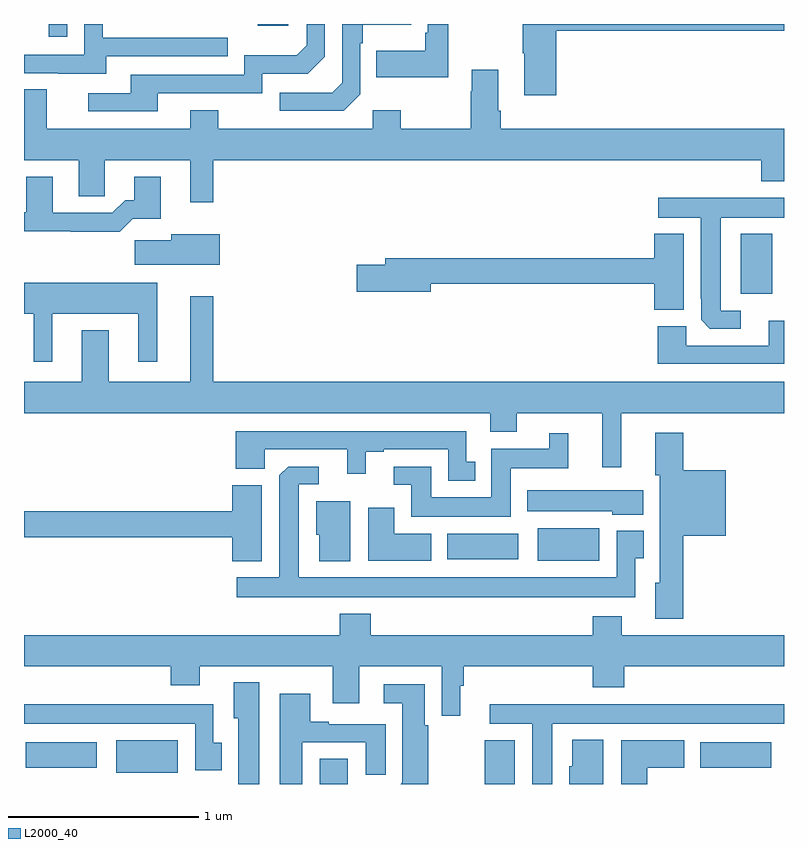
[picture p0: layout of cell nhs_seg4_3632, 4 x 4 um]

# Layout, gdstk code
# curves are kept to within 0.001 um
import gdstk
lib = gdstk.Library(unit=1e-6, precision=1e-09)
def R(c, l, rs):  # rectangles x0, y0, x1, y1
    for r in rs: c.add(gdstk.rectangle(r[:2], r[2:], *l))
def P(c, l, *ps):  # polygons
    for p in ps: c.add(gdstk.Polygon(p, *l))
L2000_40 = (2000, 40)

nhs_seg4_3632 = lib.new_cell('nhs_seg4_3632')
R(nhs_seg4_3632, L2000_40, [(304.556,762.9,304.705,763.034), (305.426,762.9,305.584,763.129), (303.485,762.959,303.808,763.129), (303.008,762.986,303.382,763.12), (306.56,762.986,306.934,763.12), (305.705,764.075,306.028,764.245), (305.228,764.084,305.602,764.218), (306.773,765.48,306.937,765.796), (303.131,766.833,303.228,766.9), (304.229,766.892,304.39,766.9)])
P(nhs_seg4_3632, L2000_40, [(305.233,766.9),(305.124,766.9),(305.124,766.855),(305.112,766.855),(305.112,766.759),(304.855,766.759),(304.855,766.619),(305.233,766.619)],
  [(303.703,766.536),(304.254,766.536),(304.254,766.638),(304.494,766.638),(304.584,766.728),(304.584,766.9),(304.488,766.9),(304.488,766.788),(304.435,766.735),(304.158,766.735),(304.158,766.632),(303.563,766.632),(303.563,766.536),(303.339,766.536),(303.339,766.44),(303.703,766.44)],
  [(304.77,766.53),(304.77,766.799),(304.783,766.799),(304.783,766.895),(305.039,766.895),(305.039,766.9),(304.674,766.9),(304.674,766.59),(304.623,766.539),(304.347,766.539),(304.347,766.443),(304.683,766.443)],
  [(303.433,766.731),(304.073,766.731),(304.073,766.827),(303.414,766.827),(303.414,766.9),(303.318,766.9),(303.318,766.737),(303,766.737),(303,766.641),(303.179,766.641),(303.179,766.637),(303.433,766.637)],
  [(305.801,766.864),(307,766.864),(307,766.9),(305.626,766.9),(305.626,766.747),(305.633,766.747),(305.633,766.524),(305.801,766.524)],
  [(306.881,766.073),(307,766.073),(307,766.348),(305.51,766.348),(305.51,766.444),(305.497,766.444),(305.497,766.66),(305.357,766.66),(305.357,766.547),(305.35,766.547),(305.35,766.348),(304.983,766.348),(304.983,766.447),(304.836,766.447),(304.836,766.348),(304.023,766.348),(304.023,766.447),(303.875,766.447),(303.875,766.348),(303.121,766.348),(303.121,766.556),(303,766.556),(303,766.184),(303.287,766.184),(303.287,765.994),(303.426,765.994),(303.426,766.184),(303.875,766.184),(303.875,765.963),(303.997,765.963),(303.997,766.184),(306.881,766.184)],
  [(303.572,765.875),(303.721,765.875),(303.721,766.096),(303.581,766.096),(303.581,765.973),(303.532,765.973),(303.465,765.906),(303.151,765.906),(303.151,766.096),(303.011,766.096),(303.011,765.909),(303,765.909),(303,765.808),(303.247,765.808),(303.247,765.806),(303.503,765.806)],
  [(306.772,765.39),(306.667,765.39),(306.667,765.881),(307,765.881),(307,765.985),(306.339,765.985),(306.339,765.881),(306.563,765.881),(306.564,765.343),(306.61,765.297),(306.772,765.297)],
  [(306.472,765.796),(306.317,765.796),(306.317,765.668),(304.901,765.668),(304.901,765.632),(304.752,765.632),(304.752,765.49),(305.14,765.49),(305.14,765.532),(306.317,765.532),(306.317,765.395),(306.472,765.395)],
  [(304.03,765.793),(303.776,765.793),(303.776,765.761),(303.582,765.761),(303.582,765.632),(304.03,765.632)],
  [(303.148,765.374),(303.602,765.374),(303.602,765.123),(303.7,765.123),(303.7,765.538),(303,765.538),(303,765.374),(303.05,765.374),(303.05,765.123),(303.148,765.123)],
  [(306.143,764.852),(307,764.852),(307,765.016),(303.997,765.016),(303.997,765.466),(303.875,765.466),(303.875,765.016),(303.445,765.016),(303.445,765.289),(303.305,765.289),(303.305,765.016),(303,765.016),(303,764.852),(305.453,764.852),(305.453,764.753),(305.593,764.753),(305.593,764.852),(306.044,764.852),(306.044,764.568),(306.143,764.568)],
  [(307,765.337),(306.92,765.337),(306.92,765.207),(306.486,765.207),(306.486,765.31),(306.335,765.31),(306.335,765.111),(307,765.111)],
  [(305.374,764.595),(305.328,764.595),(305.328,764.757),(304.115,764.757),(304.115,764.558),(304.266,764.558),(304.266,764.661),(304.7,764.661),(304.7,764.532),(304.798,764.532),(304.798,764.649),(304.894,764.649),(304.894,764.661),(305.232,764.661),(305.232,764.495),(305.374,764.495)],
  [(306.47,764.207),(306.694,764.207),(306.694,764.551),(306.47,764.551),(306.47,764.749),(306.323,764.749),(306.323,764.526),(306.347,764.526),(306.347,763.959),(306.323,763.959),(306.323,763.769),(306.47,763.769)],
  [(305.563,764.561),(305.864,764.561),(305.864,764.746),(305.765,764.746),(305.765,764.665),(305.459,764.665),(305.459,764.41),(305.143,764.41),(305.143,764.571),(304.947,764.571),(304.947,764.475),(305.039,764.475),(305.039,764.306),(305.563,764.306)],
  [(306.217,764.089),(306.262,764.089),(306.262,764.233),(306.12,764.233),(306.12,763.987),(304.447,763.987),(304.447,764.478),(304.552,764.478),(304.552,764.571),(304.39,764.571),(304.344,764.525),(304.343,763.987),(304.119,763.987),(304.119,763.883),(306.217,763.883)],
  [(304.252,764.473),(304.097,764.473),(304.097,764.336),(303,764.336),(303,764.2),(304.097,764.2),(304.097,764.072),(304.252,764.072)],
  [(306.259,764.446),(305.648,764.446),(305.648,764.336),(306.096,764.336),(306.096,764.318),(306.259,764.318)],
  [(304.717,764.389),(304.538,764.389),(304.538,764.211),(304.553,764.211),(304.553,764.072),(304.717,764.072)],
  [(305.143,764.218),(304.948,764.218),(304.948,764.353),(304.811,764.353),(304.811,764.075),(305.143,764.075)],
  [(305.296,763.417),(305.315,763.417),(305.315,763.52),(305.993,763.52),(305.993,763.409),(306.158,763.409),(306.158,763.52),(307,763.52),(307,763.684),(306.145,763.684),(306.145,763.783),(305.993,763.783),(305.993,763.684),(304.826,763.684),(304.826,763.795),(304.661,763.795),(304.661,763.684),(303,763.684),(303,763.52),(303.773,763.52),(303.773,763.421),(303.925,763.421),(303.925,763.52),(304.625,763.52),(304.625,763.326),(304.765,763.326),(304.765,763.52),(305.199,763.52),(305.199,763.26),(305.296,763.26)],
  [(304.237,763.435),(304.103,763.435),(304.103,763.245),(304.127,763.245),(304.127,762.9),(304.237,762.9)],
  [(305.128,763.209),(305.11,763.209),(305.11,763.426),(304.893,763.426),(304.893,763.325),(304.991,763.325),(304.991,762.908),(304.983,762.9),(305.128,762.9)],
  [(304.465,763.119),(304.799,763.119),(304.799,762.948),(304.903,762.948),(304.903,763.215),(304.603,763.215),(304.603,763.228),(304.507,763.228),(304.507,763.375),(304.346,763.375),(304.346,762.9),(304.465,762.9)],
  [(305.779,763.217),(307,763.217),(307,763.321),(305.451,763.321),(305.451,763.217),(305.675,763.217),(305.675,762.9),(305.779,762.9)],
  [(304.042,763.116),(303.997,763.116),(303.997,763.321),(303,763.321),(303,763.217),(303.9,763.217),(303.9,762.972),(304.042,762.972)],
  [(306.049,763.132),(305.885,763.132),(305.885,762.993),(305.87,762.993),(305.87,762.9),(306.049,762.9)],
  [(306.28,762.986),(306.475,762.986),(306.475,763.129),(306.143,763.129),(306.143,762.9),(306.28,762.9)])

lib.write_gds('nhs_seg4_3632.gds')
